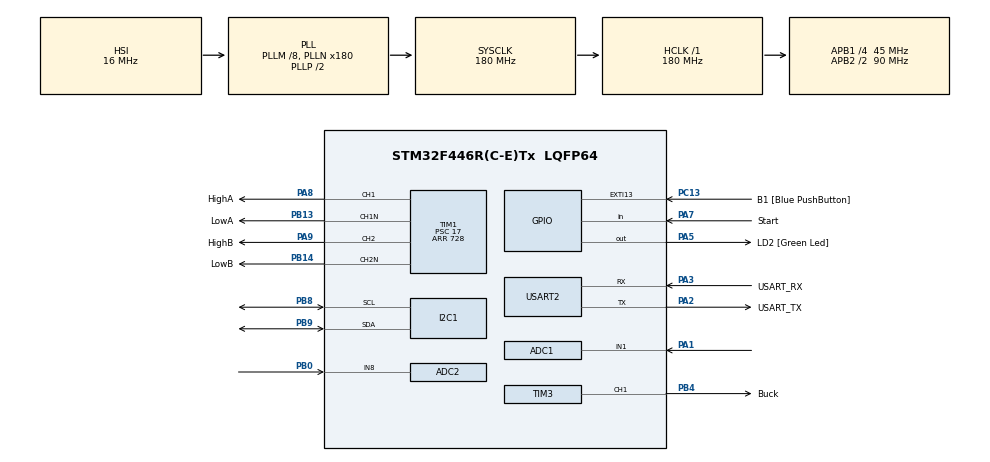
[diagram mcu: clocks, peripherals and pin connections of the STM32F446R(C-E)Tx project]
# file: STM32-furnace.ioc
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ADC1.Channel-0\#ChannelRegularConversion=ADC_CHANNEL_1
ADC1.ClockPrescaler=ADC_CLOCK_SYNC_PCLK_DIV4
ADC1.NbrOfConversionFlag=1
ADC1.Rank-0\#ChannelRegularConversion=1
ADC1.SamplingTime-0\#ChannelRegularConversion=ADC_SAMPLETIME_3CYCLES
ADC1.master=1
ADC2.Channel-2\#ChannelRegularConversion=ADC_CHANNEL_8
ADC2.NbrOfConversionFlag=1
ADC2.Rank-2\#ChannelRegularConversion=1
ADC2.SamplingTime-2\#ChannelRegularConversion=ADC_SAMPLETIME_3CYCLES
Mcu.Family=STM32F4
Mcu.Name=STM32F446R(C-E)Tx
Mcu.Package=LQFP64
NVIC.PriorityGroup=NVIC_PRIORITYGROUP_0
NVIC.TIM7_IRQn=true\:0\:0\:false\:false\:true\:true\:true\:true
NVIC.TIM8_UP_TIM13_IRQn=true\:0\:0\:false\:false\:true\:true\:true\:true
PA1.Signal=ADCx_IN1
PA13.GPIO_Label=TMS
PA13.Mode=Serial_Wire
PA13.Signal=SYS_JTMS-SWDIO
PA14.GPIO_Label=TCK
PA14.Mode=Serial_Wire
PA14.Signal=SYS_JTCK-SWCLK
PA2.GPIO_Label=USART_TX
PA2.Mode=Asynchronous
PA2.Signal=USART2_TX
PA3.GPIO_Label=USART_RX
PA3.Mode=Asynchronous
PA3.Signal=USART2_RX
PA5.GPIO_Label=LD2 [Green Led]
PA5.Signal=GPIO_Output
PA7.GPIO_Label=Start
PA7.GPIO_PuPd=GPIO_PULLUP
PA7.Signal=GPIO_Input
PA8.GPIO_Label=HighA
PA8.GPIO_Speed=GPIO_SPEED_FREQ_LOW
PA8.Signal=S_TIM1_CH1
PA9.GPIO_Label=HighB
PA9.GPIO_Speed=GPIO_SPEED_FREQ_LOW
PA9.Signal=S_TIM1_CH2
PB0.Signal=ADCx_IN8
PB13.GPIO_Label=LowA
PB13.GPIO_Speed=GPIO_SPEED_FREQ_LOW
PB13.Mode=PWM Generation1 CH1 CH1N
PB13.Signal=TIM1_CH1N
PB14.GPIO_Label=LowB
PB14.GPIO_PuPd=GPIO_NOPULL
PB14.GPIO_Speed=GPIO_SPEED_FREQ_LOW
PB14.Mode=PWM Generation2 CH2 CH2N
PB14.Signal=TIM1_CH2N
PB3.GPIO_Label=SWO
PB3.Signal=SYS_JTDO-SWO
PB4.GPIO_Label=Buck
PB4.GPIO_Speed=GPIO_SPEED_FREQ_HIGH
PB4.Signal=S_TIM3_CH1
PB8.GPIO_Pu=GPIO_PULLUP
PB8.Mode=I2C
PB8.Signal=I2C1_SCL
PB9.GPIO_Pu=GPIO_PULLUP
PB9.Mode=I2C
PB9.Signal=I2C1_SDA
PC13.GPIO_Label=B1 [Blue PushButton]
PC13.GPIO_ModeDefaultEXTI=GPIO_MODE_IT_FALLING
PC13.Signal=GPXTI13
PC14-OSC32_IN.Mode=LSE-External-Oscillator
PC14-OSC32_IN.Signal=RCC_OSC32_IN
PC15-OSC32_OUT.Mode=LSE-External-Oscillator
PC15-OSC32_OUT.Signal=RCC_OSC32_OUT
PH0-OSC_IN.Mode=HSE-External-Oscillator
PH0-OSC_IN.Signal=RCC_OSC_IN
PH1-OSC_OUT.Mode=HSE-External-Oscillator
PH1-OSC_OUT.Signal=RCC_OSC_OUT
ProjectManager.HeapSize=0x200
ProjectManager.StackSize=0x400
ProjectManager.TargetToolchain=STM32CubeIDE
RCC.48MHZClocksFreq_Value=84000000
RCC.AHBFreq_Value=180000000
RCC.APB1CLKDivider=RCC_HCLK_DIV4
RCC.APB1Freq_Value=45000000
RCC.APB1TimFreq_Value=90000000
RCC.APB2CLKDivider=RCC_HCLK_DIV2
RCC.APB2Freq_Value=90000000
RCC.APB2TimFreq_Value=180000000
RCC.CortexFreq_Value=180000000
RCC.FLatency-AdvancedSettings=FLASH_LATENCY_5
RCC.HCLKFreq_Value=180000000
RCC.HSE_VALUE=8000000
RCC.HSI_VALUE=16000000
RCC.PLLM=8
RCC.PLLN=180
RCC.SYSCLKFreq_VALUE=180000000
RCC.SYSCLKSource=RCC_SYSCLKSOURCE_PLLCLK
RCC.USBFreq_Value=180000000
RCC.VCOOutputFreq_Value=360000000
SH.ADCx_IN1.0=ADC1_IN1,IN1
SH.ADCx_IN8.0=ADC2_IN8,IN8
SH.S_TIM1_CH1.0=TIM1_CH1,PWM Generation1 CH1 CH1N
SH.S_TIM1_CH2.0=TIM1_CH2,PWM Generation2 CH2 CH2N
SH.S_TIM3_CH1.0=TIM3_CH1,PWM Generation1 CH1
TIM1.Channel-PWM\ Generation1\ CH1\ CH1N=TIM_CHANNEL_1
TIM1.Channel-PWM\ Generation2\ CH2\ CH2N=TIM_CHANNEL_2
TIM1.DeadTime=30
TIM1.OCMode_PWM-PWM\ Generation2\ CH2\ CH2N=TIM_OCMODE_PWM2
TIM1.Period=728
TIM1.Prescaler=17
TIM1.Pulse-PWM\ Generation1\ CH1\ CH1N=364
TIM1.Pulse-PWM\ Generation2\ CH2\ CH2N=364
TIM3.Channel-PWM\ Generation1\ CH1=TIM_CHANNEL_1
TIM3.Period=499
TIM3.Prescaler=8
TIM3.Pulse-PWM\ Generation1\ CH1=0
TIM7.Period=99
TIM7.Prescaler=179
TIM8.Period=999
TIM8.Prescaler=179
USART2.VirtualMode=VM_ASYNC
VP_TIM7_VS_ClockSourceINT.Mode=Enable_Timer
VP_TIM8_VS_ClockSourceINT.Mode=Internal
board=NUCLEO-F446RE

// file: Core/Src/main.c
/* USER CODE BEGIN Header */
/**
  ******************************************************************************
  * @file           : main.c
  * @brief          : Main program body
  ******************************************************************************
  * @attention
  *
  * Copyright (c) 2025 STMicroelectronics.
  * All rights reserved.
  *
  * This software is licensed under terms that can be found in the LICENSE file
  * in the root directory of this software component.
  * If no LICENSE file comes with this software, it is provided AS-IS.
  *
  ******************************************************************************
  */
/* USER CODE END Header */
#include "main.h"

/* USER CODE BEGIN Includes */
#include "wcs1700float.h"
#include "base_funtions.h"
#include "stdio.h" //printf funkce
#include <math.h>
#include "i2c_lcd.h"
/* USER CODE END Includes */

ADC_HandleTypeDef hadc1;
ADC_HandleTypeDef hadc2;

I2C_HandleTypeDef hi2c1;

TIM_HandleTypeDef htim1;
TIM_HandleTypeDef htim3;
TIM_HandleTypeDef htim7;
TIM_HandleTypeDef htim8;

UART_HandleTypeDef huart2;

/* USER CODE BEGIN PV */
/* USER CODE BEGIN PV */
I2C_LCD_HandleTypeDef lcd1;
/* USER CODE END PV */

void SystemClock_Config(void);
static void MX_GPIO_Init(void);
static void MX_USART2_UART_Init(void);
static void MX_TIM1_Init(void);
static void MX_ADC1_Init(void);
static void MX_TIM3_Init(void);
static void MX_TIM8_Init(void);
static void MX_TIM7_Init(void);
static void MX_I2C1_Init(void);
static void MX_ADC2_Init(void);

/* USER CODE BEGIN 0 */
int F;
int G=0;
float current_mA;
float f_current_mV;
float setpoint_mA = 5;    // požadovaný proud v mA
float pwm_duty = 0.0f;

float Kp = 0.001f, Ki = 0.01f, Kd = 10.0f;
float integral = 0, last_error = 0;

float PID_Compute(float setpoint, float measured);
//test
float duty;

uint32_t lastCalibrationTick = 0;
uint8_t b_pwmOn = 0;
uint32_t lastmeasure;

/* USER CODE END 0 */

int main(void)
{

  /* MCU Configuration--------------------------------------------------------*/

  /* Reset of all peripherals, Initializes the Flash interface and the Systick. */
  HAL_Init();

  /* Configure the system clock */
  SystemClock_Config();

  /* Initialize all configured peripherals */
  MX_GPIO_Init();
  MX_USART2_UART_Init();
  MX_TIM1_Init();
  MX_ADC1_Init();
  MX_TIM3_Init();
  MX_TIM8_Init();
  MX_TIM7_Init();
  MX_I2C1_Init();
  MX_ADC2_Init();
  /* USER CODE BEGIN 2 */
  lcd1.address = (0x27 << 1);   // typická adresa I2C expanderu PCF8574, někdy 0x3F
  lcd1.hi2c = &hi2c1;        // propojení s tvým I2C handlerem
  lcd_init(&lcd1);           // inicializace LCD
  lcd_clear(&lcd1);          // vyčisti displej
  lcd_puts(&lcd1, "Init OK"); // test
  //WCS1700float_Init(&hadc1);
  //HAL_ADC_Start(&hadc1);
  HAL_Delay(1000);
  //WCS1700float_Calibrate();
  HAL_Delay(1000);
  allPWMStart();
  /* USER CODE END 2 */

  /* Infinite loop */
  while (1)
  {

    /* USER CODE BEGIN 3 */

	  	GPIO_PinState sw = HAL_GPIO_ReadPin(Start_GPIO_Port, Start_Pin);

	  	if (sw == GPIO_PIN_SET && b_pwmOn == 0) {
	  		allPWMStart();
	  		b_pwmOn = 1;
	  	}
	  	else if (sw == GPIO_PIN_RESET && b_pwmOn == 1) {
	  		allPWMStop();
	  	   b_pwmOn = 0;
	  	   lcd_clear(&lcd1);
	  	   lcd_puts(&lcd1, "Stopped");
	  	}
	  	if (b_pwmOn == 1) {
	  		lcd_clear(&lcd1);
	  		char buffer[16];
	  		int intAPart = (int)current_mA;
	  		int fracAPart = (int)((current_mA - intAPart) * 10); // 1 desetinná místa
	  		int intPWMPart = (int)pwm_duty;
	  		sprintf(buffer, "Run A:%d.%01d PWM:%d",intAPart, fracAPart,intPWMPart);

	  		lcd_puts(&lcd1, buffer);
	  		lcd_gotoxy(&lcd1, 0, 1);

	  		int intNPart = (int)calibrationConstant_mV;
	  		int fracNPart = (int)((calibrationConstant_mV - intNPart) * 10);

	  		int intCPart = (int)f_current_mV;
	  		int fracCPart = (int)((f_current_mV - intCPart) * 10);

	  		sprintf(buffer, "N:%d C:%d",
	  		        intNPart,
	  		        intCPart);
	  		lcd_puts(&lcd1, buffer);
	  	}
	  	HAL_Delay(100);

  }
  /* USER CODE END 3 */
}

void SystemClock_Config(void)
{
  RCC_OscInitTypeDef RCC_OscInitStruct = {0};
  RCC_ClkInitTypeDef RCC_ClkInitStruct = {0};

  /** Configure the main internal regulator output voltage
  */
  __HAL_RCC_PWR_CLK_ENABLE();
  __HAL_PWR_VOLTAGESCALING_CONFIG(PWR_REGULATOR_VOLTAGE_SCALE1);

  /** Initializes the RCC Oscillators according to the specified parameters
  * in the RCC_OscInitTypeDef structure.
  */
  RCC_OscInitStruct.OscillatorType = RCC_OSCILLATORTYPE_HSI;
  RCC_OscInitStruct.HSIState = RCC_HSI_ON;
  RCC_OscInitStruct.HSICalibrationValue = RCC_HSICALIBRATION_DEFAULT;
  RCC_OscInitStruct.PLL.PLLState = RCC_PLL_ON;
  RCC_OscInitStruct.PLL.PLLSource = RCC_PLLSOURCE_HSI;
  RCC_OscInitStruct.PLL.PLLM = 8;
  RCC_OscInitStruct.PLL.PLLN = 180;
  RCC_OscInitStruct.PLL.PLLP = RCC_PLLP_DIV2;
  RCC_OscInitStruct.PLL.PLLQ = 2;
  RCC_OscInitStruct.PLL.PLLR = 2;
  if (HAL_RCC_OscConfig(&RCC_OscInitStruct) != HAL_OK)
  {
    Error_Handler();
  }

  /** Activate the Over-Drive mode
  */
  if (HAL_PWREx_EnableOverDrive() != HAL_OK)
  {
    Error_Handler();
  }

  /** Initializes the CPU, AHB and APB buses clocks
  */
  RCC_ClkInitStruct.ClockType = RCC_CLOCKTYPE_HCLK|RCC_CLOCKTYPE_SYSCLK
                              |RCC_CLOCKTYPE_PCLK1|RCC_CLOCKTYPE_PCLK2;
  RCC_ClkInitStruct.SYSCLKSource = RCC_SYSCLKSOURCE_PLLCLK;
  RCC_ClkInitStruct.AHBCLKDivider = RCC_SYSCLK_DIV1;
  RCC_ClkInitStruct.APB1CLKDivider = RCC_HCLK_DIV4;
  RCC_ClkInitStruct.APB2CLKDivider = RCC_HCLK_DIV2;

  if (HAL_RCC_ClockConfig(&RCC_ClkInitStruct, FLASH_LATENCY_5) != HAL_OK)
  {
    Error_Handler();
  }
}

static void MX_ADC1_Init(void)
{

  ADC_ChannelConfTypeDef sConfig = {0};

  /** Configure the global features of the ADC (Clock, Resolution, Data Alignment and number of conversion)
  */
  hadc1.Instance = ADC1;
  hadc1.Init.ClockPrescaler = ADC_CLOCK_SYNC_PCLK_DIV4;
  hadc1.Init.Resolution = ADC_RESOLUTION_12B;
  hadc1.Init.ScanConvMode = DISABLE;
  hadc1.Init.ContinuousConvMode = DISABLE;
  hadc1.Init.DiscontinuousConvMode = DISABLE;
  hadc1.Init.ExternalTrigConvEdge = ADC_EXTERNALTRIGCONVEDGE_NONE;
  hadc1.Init.ExternalTrigConv = ADC_SOFTWARE_START;
  hadc1.Init.DataAlign = ADC_DATAALIGN_RIGHT;
  hadc1.Init.NbrOfConversion = 1;
  hadc1.Init.DMAContinuousRequests = DISABLE;
  hadc1.Init.EOCSelection = ADC_EOC_SINGLE_CONV;
  if (HAL_ADC_Init(&hadc1) != HAL_OK)
  {
    Error_Handler();
  }

  /** Configure for the selected ADC regular channel its corresponding rank in the sequencer and its sample time.
  */
  sConfig.Channel = ADC_CHANNEL_1;
  sConfig.Rank = 1;
  sConfig.SamplingTime = ADC_SAMPLETIME_3CYCLES;
  if (HAL_ADC_ConfigChannel(&hadc1, &sConfig) != HAL_OK)
  {
    Error_Handler();
  }

}

static void MX_ADC2_Init(void)
{

  ADC_ChannelConfTypeDef sConfig = {0};

  /** Configure the global features of the ADC (Clock, Resolution, Data Alignment and number of conversion)
  */
  hadc2.Instance = ADC2;
  hadc2.Init.ClockPrescaler = ADC_CLOCK_SYNC_PCLK_DIV4;
  hadc2.Init.Resolution = ADC_RESOLUTION_12B;
  hadc2.Init.ScanConvMode = DISABLE;
  hadc2.Init.ContinuousConvMode = DISABLE;
  hadc2.Init.DiscontinuousConvMode = DISABLE;
  hadc2.Init.ExternalTrigConvEdge = ADC_EXTERNALTRIGCONVEDGE_NONE;
  hadc2.Init.ExternalTrigConv = ADC_SOFTWARE_START;
  hadc2.Init.DataAlign = ADC_DATAALIGN_RIGHT;
  hadc2.Init.NbrOfConversion = 1;
  hadc2.Init.DMAContinuousRequests = DISABLE;
  hadc2.Init.EOCSelection = ADC_EOC_SINGLE_CONV;
  if (HAL_ADC_Init(&hadc2) != HAL_OK)
  {
    Error_Handler();
  }

  /** Configure for the selected ADC regular channel its corresponding rank in the sequencer and its sample time.
  */
  sConfig.Channel = ADC_CHANNEL_8;
  sConfig.Rank = 1;
  sConfig.SamplingTime = ADC_SAMPLETIME_3CYCLES;
  if (HAL_ADC_ConfigChannel(&hadc2, &sConfig) != HAL_OK)
  {
    Error_Handler();
  }

}

static void MX_I2C1_Init(void)
{

  hi2c1.Instance = I2C1;
  hi2c1.Init.ClockSpeed = 100000;
  hi2c1.Init.DutyCycle = I2C_DUTYCYCLE_2;
  hi2c1.Init.OwnAddress1 = 0;
  hi2c1.Init.AddressingMode = I2C_ADDRESSINGMODE_7BIT;
  hi2c1.Init.DualAddressMode = I2C_DUALADDRESS_DISABLE;
  hi2c1.Init.OwnAddress2 = 0;
  hi2c1.Init.GeneralCallMode = I2C_GENERALCALL_DISABLE;
  hi2c1.Init.NoStretchMode = I2C_NOSTRETCH_DISABLE;
  if (HAL_I2C_Init(&hi2c1) != HAL_OK)
  {
    Error_Handler();
  }

}

static void MX_TIM1_Init(void)
{

  TIM_MasterConfigTypeDef sMasterConfig = {0};
  TIM_OC_InitTypeDef sConfigOC = {0};
  TIM_BreakDeadTimeConfigTypeDef sBreakDeadTimeConfig = {0};

  htim1.Instance = TIM1;
  htim1.Init.Prescaler = 17;
  htim1.Init.CounterMode = TIM_COUNTERMODE_UP;
  htim1.Init.Period = 728;
  htim1.Init.ClockDivision = TIM_CLOCKDIVISION_DIV1;
  htim1.Init.RepetitionCounter = 0;
  htim1.Init.AutoReloadPreload = TIM_AUTORELOAD_PRELOAD_DISABLE;
  if (HAL_TIM_PWM_Init(&htim1) != HAL_OK)
  {
    Error_Handler();
  }
  sMasterConfig.MasterOutputTrigger = TIM_TRGO_RESET;
  sMasterConfig.MasterSlaveMode = TIM_MASTERSLAVEMODE_DISABLE;
  if (HAL_TIMEx_MasterConfigSynchronization(&htim1, &sMasterConfig) != HAL_OK)
  {
    Error_Handler();
  }
  sConfigOC.OCMode = TIM_OCMODE_PWM1;
  sConfigOC.Pulse = 364;
  sConfigOC.OCPolarity = TIM_OCPOLARITY_HIGH;
  sConfigOC.OCNPolarity = TIM_OCNPOLARITY_HIGH;
  sConfigOC.OCFastMode = TIM_OCFAST_DISABLE;
  sConfigOC.OCIdleState = TIM_OCIDLESTATE_RESET;
  sConfigOC.OCNIdleState = TIM_OCNIDLESTATE_RESET;
  if (HAL_TIM_PWM_ConfigChannel(&htim1, &sConfigOC, TIM_CHANNEL_1) != HAL_OK)
  {
    Error_Handler();
  }
  sConfigOC.OCMode = TIM_OCMODE_PWM2;
  if (HAL_TIM_PWM_ConfigChannel(&htim1, &sConfigOC, TIM_CHANNEL_2) != HAL_OK)
  {
    Error_Handler();
  }
  sBreakDeadTimeConfig.OffStateRunMode = TIM_OSSR_DISABLE;
  sBreakDeadTimeConfig.OffStateIDLEMode = TIM_OSSI_DISABLE;
  sBreakDeadTimeConfig.LockLevel = TIM_LOCKLEVEL_OFF;
  sBreakDeadTimeConfig.DeadTime = 30;
  sBreakDeadTimeConfig.BreakState = TIM_BREAK_DISABLE;
  sBreakDeadTimeConfig.BreakPolarity = TIM_BREAKPOLARITY_HIGH;
  sBreakDeadTimeConfig.AutomaticOutput = TIM_AUTOMATICOUTPUT_DISABLE;
  if (HAL_TIMEx_ConfigBreakDeadTime(&htim1, &sBreakDeadTimeConfig) != HAL_OK)
  {
    Error_Handler();
  }
  HAL_TIM_MspPostInit(&htim1);

}

static void MX_TIM3_Init(void)
{

  TIM_MasterConfigTypeDef sMasterConfig = {0};
  TIM_OC_InitTypeDef sConfigOC = {0};

  htim3.Instance = TIM3;
  htim3.Init.Prescaler = 8;
  htim3.Init.CounterMode = TIM_COUNTERMODE_UP;
  htim3.Init.Period = 499;
  htim3.Init.ClockDivision = TIM_CLOCKDIVISION_DIV1;
  htim3.Init.AutoReloadPreload = TIM_AUTORELOAD_PRELOAD_DISABLE;
  if (HAL_TIM_PWM_Init(&htim3) != HAL_OK)
  {
    Error_Handler();
  }
  sMasterConfig.MasterOutputTrigger = TIM_TRGO_RESET;
  sMasterConfig.MasterSlaveMode = TIM_MASTERSLAVEMODE_DISABLE;
  if (HAL_TIMEx_MasterConfigSynchronization(&htim3, &sMasterConfig) != HAL_OK)
  {
    Error_Handler();
  }
  sConfigOC.OCMode = TIM_OCMODE_PWM1;
  sConfigOC.Pulse = 0;
  sConfigOC.OCPolarity = TIM_OCPOLARITY_HIGH;
  sConfigOC.OCFastMode = TIM_OCFAST_DISABLE;
  if (HAL_TIM_PWM_ConfigChannel(&htim3, &sConfigOC, TIM_CHANNEL_1) != HAL_OK)
  {
    Error_Handler();
  }
  HAL_TIM_MspPostInit(&htim3);

}

static void MX_TIM7_Init(void)
{

  TIM_MasterConfigTypeDef sMasterConfig = {0};

  htim7.Instance = TIM7;
  htim7.Init.Prescaler = 179;
  htim7.Init.CounterMode = TIM_COUNTERMODE_UP;
  htim7.Init.Period = 99;
  htim7.Init.AutoReloadPreload = TIM_AUTORELOAD_PRELOAD_DISABLE;
  if (HAL_TIM_Base_Init(&htim7) != HAL_OK)
  {
    Error_Handler();
  }
  sMasterConfig.MasterOutputTrigger = TIM_TRGO_RESET;
  sMasterConfig.MasterSlaveMode = TIM_MASTERSLAVEMODE_DISABLE;
  if (HAL_TIMEx_MasterConfigSynchronization(&htim7, &sMasterConfig) != HAL_OK)
  {
    Error_Handler();
  }

}

static void MX_TIM8_Init(void)
{

  TIM_ClockConfigTypeDef sClockSourceConfig = {0};
  TIM_MasterConfigTypeDef sMasterConfig = {0};

  htim8.Instance = TIM8;
  htim8.Init.Prescaler = 179;
  htim8.Init.CounterMode = TIM_COUNTERMODE_UP;
  htim8.Init.Period = 999;
  htim8.Init.ClockDivision = TIM_CLOCKDIVISION_DIV1;
  htim8.Init.RepetitionCounter = 0;
  htim8.Init.AutoReloadPreload = TIM_AUTORELOAD_PRELOAD_DISABLE;
  if (HAL_TIM_Base_Init(&htim8) != HAL_OK)
  {
    Error_Handler();
  }
  sClockSourceConfig.ClockSource = TIM_CLOCKSOURCE_INTERNAL;
  if (HAL_TIM_ConfigClockSource(&htim8, &sClockSourceConfig) != HAL_OK)
  {
    Error_Handler();
  }
  sMasterConfig.MasterOutputTrigger = TIM_TRGO_RESET;
  sMasterConfig.MasterSlaveMode = TIM_MASTERSLAVEMODE_DISABLE;
  if (HAL_TIMEx_MasterConfigSynchronization(&htim8, &sMasterConfig) != HAL_OK)
  {
    Error_Handler();
  }

}

static void MX_USART2_UART_Init(void)
{

  huart2.Instance = USART2;
  huart2.Init.BaudRate = 115200;
  huart2.Init.WordLength = UART_WORDLENGTH_8B;
  huart2.Init.StopBits = UART_STOPBITS_1;
  huart2.Init.Parity = UART_PARITY_NONE;
  huart2.Init.Mode = UART_MODE_TX_RX;
  huart2.Init.HwFlowCtl = UART_HWCONTROL_NONE;
  huart2.Init.OverSampling = UART_OVERSAMPLING_16;
  if (HAL_UART_Init(&huart2) != HAL_OK)
  {
    Error_Handler();
  }

}

static void MX_GPIO_Init(void)
{
  GPIO_InitTypeDef GPIO_InitStruct = {0};

  /* GPIO Ports Clock Enable */
  __HAL_RCC_GPIOC_CLK_ENABLE();
  __HAL_RCC_GPIOH_CLK_ENABLE();
  __HAL_RCC_GPIOA_CLK_ENABLE();
  __HAL_RCC_GPIOB_CLK_ENABLE();

  /*Configure GPIO pin Output Level */
  HAL_GPIO_WritePin(LD2_GPIO_Port, LD2_Pin, GPIO_PIN_RESET);

  /*Configure GPIO pin : B1_Pin */
  GPIO_InitStruct.Pin = B1_Pin;
  GPIO_InitStruct.Mode = GPIO_MODE_IT_FALLING;
  GPIO_InitStruct.Pull = GPIO_NOPULL;
  HAL_GPIO_Init(B1_GPIO_Port, &GPIO_InitStruct);

  /*Configure GPIO pin : LD2_Pin */
  GPIO_InitStruct.Pin = LD2_Pin;
  GPIO_InitStruct.Mode = GPIO_MODE_OUTPUT_PP;
  GPIO_InitStruct.Pull = GPIO_NOPULL;
  GPIO_InitStruct.Speed = GPIO_SPEED_FREQ_LOW;
  HAL_GPIO_Init(LD2_GPIO_Port, &GPIO_InitStruct);

  /*Configure GPIO pin : Start_Pin */
  GPIO_InitStruct.Pin = Start_Pin;
  GPIO_InitStruct.Mode = GPIO_MODE_INPUT;
  GPIO_InitStruct.Pull = GPIO_PULLUP;
  HAL_GPIO_Init(Start_GPIO_Port, &GPIO_InitStruct);

}

/* USER CODE BEGIN 4 */
void setFreqHBridge(float freq)
{
	  if (freq==0)
	  {
		__HAL_TIM_DISABLE(&htim1);
	    Error_Handler();
	  }
	  uint32_t arr = (uint32_t)((10000000.0f / freq) - 1.0f);

	  __HAL_TIM_DISABLE(&htim1);
	  __HAL_TIM_SET_AUTORELOAD(&htim1, arr);
	  __HAL_TIM_SET_COMPARE(&htim1, TIM_CHANNEL_1, arr / 2); // 50% duty
	  __HAL_TIM_SET_COMPARE(&htim1, TIM_CHANNEL_2, arr / 2); // 50% duty
	  __HAL_TIM_ENABLE(&htim1);
}

float PID_Compute(float setpoint, float measured)
{
    float error = setpoint - measured;
    integral += error;
    if (integral > 11000.0f) integral = 11000.0f;
    if (integral < 0.0f) integral = 0.0f;
    float derivative = error - last_error;
    last_error = error;

    float output = Kp * error + Ki * integral + Kd * derivative;

    // Saturace výstupu 0–100 %
    if (output > 100.0f) output = 100.0f;
    if (output < 0.0f) output = 0.0f;

    return output;
}
void HAL_TIM_PeriodElapsedCallback(TIM_HandleTypeDef *htim)
{
    if (htim->Instance == TIM7)//10kHz
    {
    	//ReadCurrent_Flow(&f_current_mV);

    	/*
    	duty = (float)__HAL_TIM_GET_COMPARE(&htim3, TIM_CHANNEL_1) / __HAL_TIM_GET_AUTORELOAD(&htim3);
float f_Vout = 325.0f * duty;float R_load = 22.0f; current_mA = f_Vout / R_load; */
    }
    if (htim->Instance == TIM8) //1kHz
    {
   	/*current_mA = frommV2A(&f_current_mV);
    	pwm_duty = PID_Compute(setpoint_mA, current_mA);
    	uint32_t pwm_value = (uint32_t)((pwm_duty / 100.0f) * __HAL_TIM_GET_AUTORELOAD(&htim3)); // mapování % na hodnotu TIM3->CCR1*/
    	__HAL_TIM_SET_COMPARE(&htim3, TIM_CHANNEL_1, 49); //pwm_value/4
    }

}
/* USER CODE END 4 */

void Error_Handler(void)
{
  __disable_irq();
  while (1)
  {
  }
}
